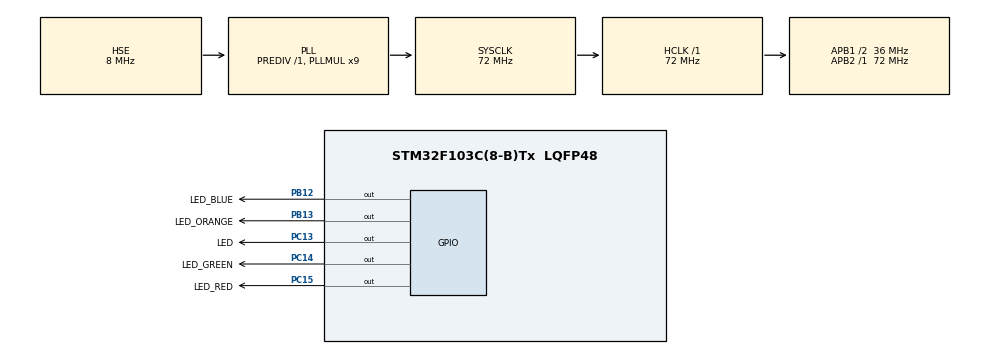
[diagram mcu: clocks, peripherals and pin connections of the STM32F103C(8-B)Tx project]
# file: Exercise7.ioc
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FREERTOS.Tasks01=defaultTask,0,128,StartDefaultTask,Default,NULL,Dynamic,NULL,NULL;greenLEDTask,0,128,greenLEDFlashing,Default,NULL,Dynamic,NULL,NULL;redLEDTask,0,128,redLEDFlashing,Default,NULL,Dynamic,NULL,NULL;orangeLEDTask,1,128,orangeLEDFlashing,Default,NULL,Dynamic,NULL,NULL
Mcu.Family=STM32F1
Mcu.Name=STM32F103C(8-B)Tx
Mcu.Package=LQFP48
NVIC.PriorityGroup=NVIC_PRIORITYGROUP_4
NVIC.TIM2_IRQn=true\:15\:0\:false\:false\:true\:false\:false\:true\:true
NVIC.TimeBase=TIM2_IRQn
NVIC.TimeBaseIP=TIM2
PA13.Mode=Serial_Wire
PA13.Signal=SYS_JTMS-SWDIO
PA14.Mode=Serial_Wire
PA14.Signal=SYS_JTCK-SWCLK
PB12.GPIO_Label=LED_BLUE
PB12.Signal=GPIO_Output
PB13.GPIO_Label=LED_ORANGE
PB13.Signal=GPIO_Output
PC13-TAMPER-RTC.GPIO_Label=LED
PC13-TAMPER-RTC.Signal=GPIO_Output
PC14-OSC32_IN.GPIO_Label=LED_GREEN
PC14-OSC32_IN.Signal=GPIO_Output
PC15-OSC32_OUT.GPIO_Label=LED_RED
PC15-OSC32_OUT.Signal=GPIO_Output
PD0-OSC_IN.Mode=HSE-External-Oscillator
PD0-OSC_IN.Signal=RCC_OSC_IN
PD1-OSC_OUT.Mode=HSE-External-Oscillator
PD1-OSC_OUT.Signal=RCC_OSC_OUT
ProjectManager.HeapSize=0x200
ProjectManager.StackSize=0x400
ProjectManager.TargetToolchain=STM32CubeIDE
RCC.AHBFreq_Value=72000000
RCC.APB1CLKDivider=RCC_HCLK_DIV2
RCC.APB1Freq_Value=36000000
RCC.APB1TimFreq_Value=72000000
RCC.APB2Freq_Value=72000000
RCC.APB2TimFreq_Value=72000000
RCC.HCLKFreq_Value=72000000
RCC.PLLMUL=RCC_PLL_MUL9
RCC.PLLSourceVirtual=RCC_PLLSOURCE_HSE
RCC.SYSCLKFreq_VALUE=72000000
RCC.SYSCLKSource=RCC_SYSCLKSOURCE_PLLCLK
RCC.USBFreq_Value=72000000
VP_FREERTOS_VS_CMSIS_V1.Mode=CMSIS_V1
VP_SYS_VS_tim2.Mode=TIM2
board=custom

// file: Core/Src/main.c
/* USER CODE BEGIN Header */
/**
  ******************************************************************************
  * @file           : main.c
  * @brief          : Main program body
  ******************************************************************************
  * @attention
  *
  * Copyright (c) 2024 STMicroelectronics.
  * All rights reserved.
  *
  * This software is licensed under terms that can be found in the LICENSE file
  * in the root directory of this software component.
  * If no LICENSE file comes with this software, it is provided AS-IS.
  *
  ******************************************************************************
  */
/* USER CODE END Header */
#include "main.h"
#include "cmsis_os.h"

/* USER CODE BEGIN PD */
volatile int StartFlag = 1;
int greenTask = 0, redTask = 0;

/* USER CODE END PD */

osThreadId defaultTaskHandle;
osThreadId greenLEDTaskHandle;
osThreadId redLEDTaskHandle;
osThreadId orangeLEDTaskHandle;

void SystemClock_Config(void);
static void MX_GPIO_Init(void);
void StartDefaultTask(void const * argument);
void greenLEDFlashing(void const * argument);
void redLEDFlashing(void const * argument);
void orangeLEDFlashing(void const * argument);

/* USER CODE BEGIN PFP */
void AccessSharedData(void) {
    // Check and update StartFlag atomically
//	taskENTER_CRITICAL();

    if (StartFlag == 1) {
        StartFlag = 0;  // Set Start flag to Down
    } else {
        // Resource contention detected - turn on Blue LED
        HAL_GPIO_WritePin(LED_BLUE_GPIO_Port, LED_BLUE_Pin, GPIO_PIN_SET);
//        osDelay(200);  // Keep Blue LED on for 100ms for visibility
    }
    // Simulate read/write operations
    osDelay(1000);
	StartFlag = 1;
    HAL_GPIO_WritePin(LED_BLUE_GPIO_Port, LED_BLUE_Pin, GPIO_PIN_RESET);

//    taskEXIT_CRITICAL();
}

/* USER CODE END PFP */

int main(void)
{

  /* MCU Configuration--------------------------------------------------------*/

  /* Reset of all peripherals, Initializes the Flash interface and the Systick. */
  HAL_Init();

  /* Configure the system clock */
  SystemClock_Config();

  /* Initialize all configured peripherals */
  MX_GPIO_Init();

  /* Create the thread(s) */
  /* definition and creation of defaultTask */
  osThreadDef(defaultTask, StartDefaultTask, osPriorityNormal, 0, 128);
  defaultTaskHandle = osThreadCreate(osThread(defaultTask), NULL);

  /* definition and creation of greenLEDTask */
  osThreadDef(greenLEDTask, greenLEDFlashing, osPriorityNormal, 0, 128);
  greenLEDTaskHandle = osThreadCreate(osThread(greenLEDTask), NULL);

  /* definition and creation of redLEDTask */
  osThreadDef(redLEDTask, redLEDFlashing, osPriorityNormal, 0, 128);
  redLEDTaskHandle = osThreadCreate(osThread(redLEDTask), NULL);

  /* definition and creation of orangeLEDTask */
  osThreadDef(orangeLEDTask, orangeLEDFlashing, osPriorityAboveNormal, 0, 128);
  orangeLEDTaskHandle = osThreadCreate(osThread(orangeLEDTask), NULL);

  /* Start scheduler */
  osKernelStart();

  /* We should never get here as control is now taken by the scheduler */

  /* Infinite loop */
  while (1)
  {

  }
}

void SystemClock_Config(void)
{
  RCC_OscInitTypeDef RCC_OscInitStruct = {0};
  RCC_ClkInitTypeDef RCC_ClkInitStruct = {0};

  /** Initializes the RCC Oscillators according to the specified parameters
  * in the RCC_OscInitTypeDef structure.
  */
  RCC_OscInitStruct.OscillatorType = RCC_OSCILLATORTYPE_HSE;
  RCC_OscInitStruct.HSEState = RCC_HSE_ON;
  RCC_OscInitStruct.HSEPredivValue = RCC_HSE_PREDIV_DIV1;
  RCC_OscInitStruct.HSIState = RCC_HSI_ON;
  RCC_OscInitStruct.PLL.PLLState = RCC_PLL_ON;
  RCC_OscInitStruct.PLL.PLLSource = RCC_PLLSOURCE_HSE;
  RCC_OscInitStruct.PLL.PLLMUL = RCC_PLL_MUL9;
  if (HAL_RCC_OscConfig(&RCC_OscInitStruct) != HAL_OK)
  {
    Error_Handler();
  }

  /** Initializes the CPU, AHB and APB buses clocks
  */
  RCC_ClkInitStruct.ClockType = RCC_CLOCKTYPE_HCLK|RCC_CLOCKTYPE_SYSCLK
                              |RCC_CLOCKTYPE_PCLK1|RCC_CLOCKTYPE_PCLK2;
  RCC_ClkInitStruct.SYSCLKSource = RCC_SYSCLKSOURCE_PLLCLK;
  RCC_ClkInitStruct.AHBCLKDivider = RCC_SYSCLK_DIV1;
  RCC_ClkInitStruct.APB1CLKDivider = RCC_HCLK_DIV2;
  RCC_ClkInitStruct.APB2CLKDivider = RCC_HCLK_DIV1;

  if (HAL_RCC_ClockConfig(&RCC_ClkInitStruct, FLASH_LATENCY_2) != HAL_OK)
  {
    Error_Handler();
  }
}

static void MX_GPIO_Init(void)
{
  GPIO_InitTypeDef GPIO_InitStruct = {0};

  /* GPIO Ports Clock Enable */
  __HAL_RCC_GPIOC_CLK_ENABLE();
  __HAL_RCC_GPIOD_CLK_ENABLE();
  __HAL_RCC_GPIOB_CLK_ENABLE();
  __HAL_RCC_GPIOA_CLK_ENABLE();

  /*Configure GPIO pin Output Level */
  HAL_GPIO_WritePin(GPIOC, LED_Pin|LED_GREEN_Pin|LED_RED_Pin, GPIO_PIN_RESET);

  /*Configure GPIO pin Output Level */
  HAL_GPIO_WritePin(GPIOB, LED_BLUE_Pin|LED_ORANGE_Pin, GPIO_PIN_RESET);

  /*Configure GPIO pins : LED_Pin LED_GREEN_Pin LED_RED_Pin */
  GPIO_InitStruct.Pin = LED_Pin|LED_GREEN_Pin|LED_RED_Pin;
  GPIO_InitStruct.Mode = GPIO_MODE_OUTPUT_PP;
  GPIO_InitStruct.Pull = GPIO_NOPULL;
  GPIO_InitStruct.Speed = GPIO_SPEED_FREQ_LOW;
  HAL_GPIO_Init(GPIOC, &GPIO_InitStruct);

  /*Configure GPIO pins : LED_BLUE_Pin LED_ORANGE_Pin */
  GPIO_InitStruct.Pin = LED_BLUE_Pin|LED_ORANGE_Pin;
  GPIO_InitStruct.Mode = GPIO_MODE_OUTPUT_PP;
  GPIO_InitStruct.Pull = GPIO_NOPULL;
  GPIO_InitStruct.Speed = GPIO_SPEED_FREQ_LOW;
  HAL_GPIO_Init(GPIOB, &GPIO_InitStruct);

}

void StartDefaultTask(void const * argument)
{
  for(;;)
  {
    osDelay(1);
  }
}

void greenLEDFlashing(void const * argument)
{
  /* USER CODE BEGIN greenLEDFlashing */
  /* Infinite loop */
	for(;;)
	{
		// Turn on Green LED
		HAL_GPIO_WritePin(LED_GREEN_GPIO_Port, LED_GREEN_Pin, GPIO_PIN_SET);
		greenTask = 1;

		// Try to access shared resource
		AccessSharedData();
		osDelay(200);

		// Turn off Green LED
		HAL_GPIO_WritePin(LED_GREEN_GPIO_Port, LED_GREEN_Pin, GPIO_PIN_RESET);
		greenTask = 0;

		osDelay(200);  // Wait before next cycle
	}
  /* USER CODE END greenLEDFlashing */
}

void redLEDFlashing(void const * argument)
{
  /* USER CODE BEGIN redLEDFlashing */
  /* Infinite loop */
	for(;;)
	{
		// Turn on Red LED
		HAL_GPIO_WritePin(LED_RED_GPIO_Port, LED_RED_Pin, GPIO_PIN_SET);
		redTask = 1;

		// Try to access shared resource
		AccessSharedData();
		osDelay(550);

		// Turn off Red LED
		HAL_GPIO_WritePin(LED_RED_GPIO_Port, LED_RED_Pin, GPIO_PIN_RESET);
		redTask = 0;

		osDelay(550);  // Wait before next cycle
	}
  /* USER CODE END redLEDFlashing */
}

void orangeLEDFlashing(void const * argument)
{
  /* USER CODE BEGIN orangeLEDFlashing */
  /* Infinite loop */
  for(;;)
  {
	  HAL_GPIO_TogglePin(LED_ORANGE_GPIO_Port, LED_ORANGE_Pin);
	  osDelay(50);  // Delay 50 ms untuk menghasilkan frekuensi 10 Hz
  }
  /* USER CODE END orangeLEDFlashing */
}

void HAL_TIM_PeriodElapsedCallback(TIM_HandleTypeDef *htim)
{
  if (htim->Instance == TIM2) {
    HAL_IncTick();
  }
}

void Error_Handler(void)
{
  __disable_irq();
  while (1)
  {
  }
}
